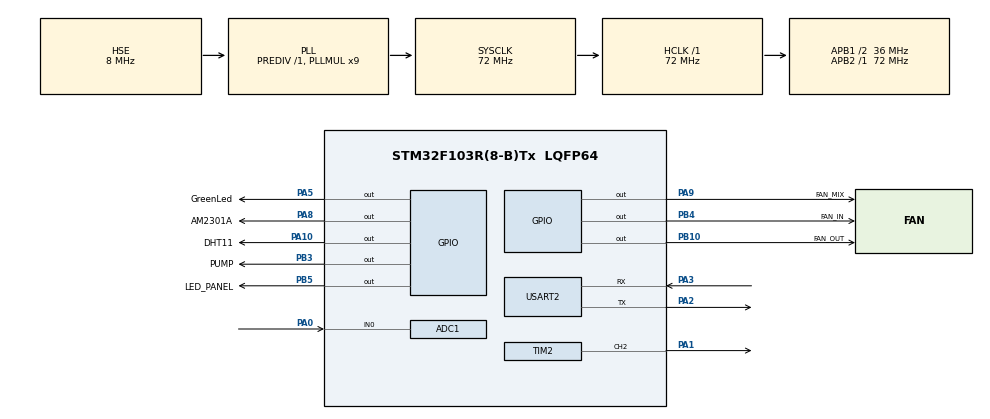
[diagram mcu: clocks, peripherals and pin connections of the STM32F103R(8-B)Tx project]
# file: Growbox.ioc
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ADC1.Channel-3\#ChannelRegularConversion=ADC_CHANNEL_0
ADC1.NbrOfConversionFlag=1
ADC1.Rank-3\#ChannelRegularConversion=1
ADC1.SamplingTime-3\#ChannelRegularConversion=ADC_SAMPLETIME_1CYCLE_5
ADC1.master=1
FREERTOS.Tasks01=tempControlTask,24,128,Start_tempControlTask,Default,NULL,Dynamic,NULL,NULL;humidityControl,8,128,Start_humidityControlTask,Default,NULL,Dynamic,NULL,NULL;mainTask,32,128,Start_mainTask,Default,NULL,Dynamic,NULL,NULL
Mcu.Family=STM32F1
Mcu.Name=STM32F103R(8-B)Tx
Mcu.Package=LQFP64
NVIC.PriorityGroup=NVIC_PRIORITYGROUP_4
NVIC.TIM4_IRQn=true\:0\:0\:false\:false\:true\:false\:false\:true
NVIC.TimeBase=TIM4_IRQn
NVIC.TimeBaseIP=TIM4
PA0-WKUP.Signal=ADCx_IN0
PA1.Signal=S_TIM2_CH2
PA10.GPIO_Label=DHT11
PA10.Signal=GPIO_Output
PA2.Mode=Asynchronous
PA2.Signal=USART2_TX
PA3.Mode=Asynchronous
PA3.Signal=USART2_RX
PA5.GPIO_Label=GreenLed
PA5.Signal=GPIO_Output
PA8.GPIO_Label=AM2301A
PA8.Signal=GPIO_Output
PA9.GPIO_Label=FAN_MIX
PA9.Signal=GPIO_Output
PB10.GPIO_Label=FAN_OUT
PB10.Signal=GPIO_Output
PB3.GPIO_Label=PUMP
PB3.Signal=GPIO_Output
PB4.GPIO_Label=FAN_IN
PB4.Signal=GPIO_Output
PB5.GPIO_Label=LED_PANEL
PB5.Signal=GPIO_Output
PD0-OSC_IN.Mode=HSE-External-Oscillator
PD0-OSC_IN.Signal=RCC_OSC_IN
PD1-OSC_OUT.Mode=HSE-External-Oscillator
PD1-OSC_OUT.Signal=RCC_OSC_OUT
ProjectManager.HeapSize=0x200
ProjectManager.StackSize=0x400
ProjectManager.TargetToolchain=STM32CubeIDE
RCC.ADCPresc=RCC_ADCPCLK2_DIV6
RCC.AHBFreq_Value=72000000
RCC.APB1CLKDivider=RCC_HCLK_DIV2
RCC.APB1Freq_Value=36000000
RCC.APB1TimFreq_Value=72000000
RCC.APB2Freq_Value=72000000
RCC.APB2TimFreq_Value=72000000
RCC.HCLKFreq_Value=72000000
RCC.PLLMUL=RCC_PLL_MUL9
RCC.PLLSourceVirtual=RCC_PLLSOURCE_HSE
RCC.SYSCLKFreq_VALUE=72000000
RCC.SYSCLKSource=RCC_SYSCLKSOURCE_PLLCLK
RCC.USBFreq_Value=72000000
RTC.Format=RTC_FORMAT_BIN
RTC.Hours=22
RTC.Minutes=11
SH.ADCx_IN0.0=ADC1_IN0,IN0
SH.S_TIM2_CH2.0=TIM2_CH2,PWM Generation2 CH2
TIM1.Period=0xffff-1
TIM1.Prescaler=72-1
TIM2.AutoReloadPreload=TIM_AUTORELOAD_PRELOAD_ENABLE
TIM2.Channel-PWM\ Generation2\ CH2=TIM_CHANNEL_2
TIM2.Period=10000-1
TIM2.Prescaler=7200-1
USART2.VirtualMode=VM_ASYNC
VP_FREERTOS_VS_CMSIS_V2.Mode=CMSIS_V2
VP_RTC_VS_RTC_Activate.Mode=RTC_Enabled
VP_RTC_VS_RTC_Calendar.Mode=RTC_Calendar
VP_SYS_VS_ND.Mode=No_Debug
VP_SYS_VS_tim4.Mode=TIM4
VP_TIM1_VS_ClockSourceINT.Mode=Internal
board=custom

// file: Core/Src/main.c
/* USER CODE BEGIN Header */
/**
  ******************************************************************************
  * @file           : main.c
  * @brief          : Main program body
  ******************************************************************************
  * @attention
  *
  * <h2><center>&copy; Copyright (c) 2020 STMicroelectronics.
  * All rights reserved.</center></h2>
  *
  * This software component is licensed by ST under BSD 3-Clause license,
  * the "License"; You may not use this file except in compliance with the
  * License. You may obtain a copy of the License at:
  *                        opensource.org/licenses/BSD-3-Clause
  *
  ******************************************************************************
  */
/* USER CODE END Header */

#include "main.h"
#include "cmsis_os.h"
#include "adc.h"
#include "rtc.h"
#include "tim.h"
#include "usart.h"
#include "gpio.h"

/* USER CODE BEGIN Includes */
#include "stdio.h"
#include <stdarg.h>
#include "dht.h"
#include <stdbool.h>
/* USER CODE END Includes */

void SystemClock_Config(void);
void MX_FREERTOS_Init(void);

/* USER CODE BEGIN 0 */
void uart_print( const char * format, ... )
{
  char buffer[256];
  va_list args;
  va_start (args, format);
  vsnprintf (buffer,256,format, args);
  perror (buffer);
  va_end (args);
}
/* USER CODE END 0 */

int main(void)
{

  /* MCU Configuration--------------------------------------------------------*/

  /* Reset of all peripherals, Initializes the Flash interface and the Systick. */
  HAL_Init();

  /* Configure the system clock */
  SystemClock_Config();

  /* Initialize all configured peripherals */
  MX_GPIO_Init();
  MX_USART2_UART_Init();
  MX_TIM1_Init();
  MX_RTC_Init();
  MX_ADC1_Init();
  MX_TIM2_Init();

  /* Init scheduler */
  osKernelInitialize();  /* Call init function for freertos objects (in freertos.c) */
  MX_FREERTOS_Init();
  /* Start scheduler */
  osKernelStart();

  /* We should never get here as control is now taken by the scheduler */
  /* Infinite loop */
  while (1)
  {

  }
}

void SystemClock_Config(void)
{
  RCC_OscInitTypeDef RCC_OscInitStruct = {0};
  RCC_ClkInitTypeDef RCC_ClkInitStruct = {0};
  RCC_PeriphCLKInitTypeDef PeriphClkInit = {0};

  /** Initializes the CPU, AHB and APB busses clocks
  */
  RCC_OscInitStruct.OscillatorType = RCC_OSCILLATORTYPE_LSI|RCC_OSCILLATORTYPE_HSE;
  RCC_OscInitStruct.HSEState = RCC_HSE_ON;
  RCC_OscInitStruct.HSEPredivValue = RCC_HSE_PREDIV_DIV1;
  RCC_OscInitStruct.HSIState = RCC_HSI_ON;
  RCC_OscInitStruct.LSIState = RCC_LSI_ON;
  RCC_OscInitStruct.PLL.PLLState = RCC_PLL_ON;
  RCC_OscInitStruct.PLL.PLLSource = RCC_PLLSOURCE_HSE;
  RCC_OscInitStruct.PLL.PLLMUL = RCC_PLL_MUL9;
  if (HAL_RCC_OscConfig(&RCC_OscInitStruct) != HAL_OK)
  {
    Error_Handler();
  }
  /** Initializes the CPU, AHB and APB busses clocks
  */
  RCC_ClkInitStruct.ClockType = RCC_CLOCKTYPE_HCLK|RCC_CLOCKTYPE_SYSCLK
                              |RCC_CLOCKTYPE_PCLK1|RCC_CLOCKTYPE_PCLK2;
  RCC_ClkInitStruct.SYSCLKSource = RCC_SYSCLKSOURCE_PLLCLK;
  RCC_ClkInitStruct.AHBCLKDivider = RCC_SYSCLK_DIV1;
  RCC_ClkInitStruct.APB1CLKDivider = RCC_HCLK_DIV2;
  RCC_ClkInitStruct.APB2CLKDivider = RCC_HCLK_DIV1;

  if (HAL_RCC_ClockConfig(&RCC_ClkInitStruct, FLASH_LATENCY_2) != HAL_OK)
  {
    Error_Handler();
  }
  PeriphClkInit.PeriphClockSelection = RCC_PERIPHCLK_RTC|RCC_PERIPHCLK_ADC;
  PeriphClkInit.RTCClockSelection = RCC_RTCCLKSOURCE_LSI;
  PeriphClkInit.AdcClockSelection = RCC_ADCPCLK2_DIV6;
  if (HAL_RCCEx_PeriphCLKConfig(&PeriphClkInit) != HAL_OK)
  {
    Error_Handler();
  }
}

 /**
  * @brief  Period elapsed callback in non blocking mode
  * @note   This function is called  when TIM4 interrupt took place, inside
  * HAL_TIM_IRQHandler(). It makes a direct call to HAL_IncTick() to increment
  * a global variable "uwTick" used as application time base.
  * @param  htim : TIM handle
  * @retval None
  */
void HAL_TIM_PeriodElapsedCallback(TIM_HandleTypeDef *htim)
{
  if (htim->Instance == TIM4) {
    HAL_IncTick();
  }
}

void Error_Handler(void)
{
}

/************************ (C) COPYRIGHT STMicroelectronics *****END OF FILE****/

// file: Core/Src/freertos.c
/* USER CODE BEGIN Header */
/**
  ******************************************************************************
  * File Name          : freertos.c
  * Description        : Code for freertos applications
  ******************************************************************************
  * @attention
  *
  * <h2><center>&copy; Copyright (c) 2020 STMicroelectronics.
  * All rights reserved.</center></h2>
  *
  * This software component is licensed by ST under Ultimate Liberty license
  * SLA0044, the "License"; You may not use this file except in compliance with
  * the License. You may obtain a copy of the License at:
  *                             www.st.com/SLA0044
  *
  ******************************************************************************
  */
/* USER CODE END Header */

#include "FreeRTOS.h"
#include "task.h"
#include "main.h"
#include "cmsis_os.h"

/* USER CODE BEGIN Includes */
#include "adc.h"
#include "rtc.h"
#include "tim.h"
#include "usart.h"
#include "gpio.h"
#include "stdio.h"
#include "dht.h"
#include <stdbool.h>
/* USER CODE END Includes */

/* USER CODE BEGIN Variables */
	 SENSOR am2301a_in;
	 SENSOR am2301a_out;
	 RTC_TimeTypeDef sTime;
/* USER CODE END Variables */
/* Definitions for tempControlTask */
osThreadId_t tempControlTaskHandle;
const osThreadAttr_t tempControlTask_attributes = {
  .name = "tempControlTask",
  .priority = (osPriority_t) osPriorityNormal,
  .stack_size = 128 * 4
};
/* Definitions for humidityControl */
osThreadId_t humidityControlHandle;
const osThreadAttr_t humidityControl_attributes = {
  .name = "humidityControl",
  .priority = (osPriority_t) osPriorityLow,
  .stack_size = 128 * 4
};
/* Definitions for mainTask */
osThreadId_t mainTaskHandle;
const osThreadAttr_t mainTask_attributes = {
  .name = "mainTask",
  .priority = (osPriority_t) osPriorityAboveNormal,
  .stack_size = 128 * 4
};

/* USER CODE BEGIN FunctionPrototypes */
void turnOnLedPanel() {
	HAL_GPIO_WritePin(LED_PANEL_GPIO_Port, LED_PANEL_Pin, RESET);
}
void turnOffLedPanel() {
	HAL_GPIO_WritePin(LED_PANEL_GPIO_Port, LED_PANEL_Pin, SET);
}
void turnOnFans () {
	HAL_GPIO_WritePin(FAN_IN_GPIO_Port, FAN_IN_Pin, RESET);
	HAL_GPIO_WritePin(FAN_OUT_GPIO_Port, FAN_OUT_Pin, RESET);
}
void turnOffFans () {
	HAL_GPIO_WritePin(FAN_IN_GPIO_Port, FAN_IN_Pin, SET);
	HAL_GPIO_WritePin(FAN_OUT_GPIO_Port, FAN_OUT_Pin, SET);
}
void turnOnFanMIX() {
	HAL_GPIO_WritePin(FAN_MIX_GPIO_Port, FAN_MIX_Pin, RESET);
}
void turnOffFanMIX() {
	HAL_GPIO_WritePin(FAN_MIX_GPIO_Port, FAN_MIX_Pin, SET);
}
void turnOnPump () {
	HAL_GPIO_WritePin(PUMP_GPIO_Port,PUMP_Pin,SET);
}
void turnOffPump () {
	HAL_GPIO_WritePin(PUMP_GPIO_Port,PUMP_Pin,RESET);
}
bool updateTemp () {
	bool correctIn,correctOut;
	correctIn=AM2301A_getData(&am2301a_in,GPIOA,AM2301A_Pin);
	correctOut=AM2301A_getData(&am2301a_out,GPIOA,DHT11_Pin);
	/*if(correctIn) {
		printf("Inside sensor: Temperature =%.2f Humidity=%.2f  \n",am2301a_in.temperature,am2301a_in.humidity);
	}
	if(correctOut) {
		printf("Outside sensor: Temperature =%.2f Humidity=%.2f  \n",am2301a_out.temperature,am2301a_out.humidity);
	}*/
	if(correctIn && correctOut)
		return 1;

	return 0;
}
void shutDownDevice() {
//ToDo: standby mode;
}
/* USER CODE END FunctionPrototypes */

void Start_tempControlTask(void *argument);
void Start_humidityControlTask(void *argument);
void Start_mainTask(void *argument);

void MX_FREERTOS_Init(void); /* (MISRA C 2004 rule 8.1) */

void MX_FREERTOS_Init(void) {
  /* USER CODE BEGIN Init */
	HAL_GPIO_WritePin(FAN_IN_GPIO_Port, FAN_IN_Pin, SET);
	  HAL_GPIO_WritePin(FAN_OUT_GPIO_Port, FAN_OUT_Pin, SET);
	  HAL_GPIO_WritePin(LED_PANEL_GPIO_Port, LED_PANEL_Pin, SET);
	  HAL_GPIO_WritePin(FAN_MIX_GPIO_Port, FAN_MIX_Pin, SET);
	  HAL_GPIO_WritePin(PUMP_GPIO_Port, PUMP_Pin, RESET);
	  HAL_TIM_Base_Start(&htim1);
	  HAL_TIM_PWM_Start(&htim2, TIM_CHANNEL_2);
	  printf("################################################## \n"
			 "######### Growbox IOT - Booting device...######### \n"
	         "################################################## \n");
  /* USER CODE END Init */

  /* Create the thread(s) */
  /* creation of tempControlTask */
  tempControlTaskHandle = osThreadNew(Start_tempControlTask, NULL, &tempControlTask_attributes);

  /* creation of humidityControl */
  humidityControlHandle = osThreadNew(Start_humidityControlTask, NULL, &humidityControl_attributes);

  /* creation of mainTask */
  mainTaskHandle = osThreadNew(Start_mainTask, NULL, &mainTask_attributes);

}

void Start_tempControlTask(void *argument)
{
  /* USER CODE BEGIN Start_tempControlTask */
	bool correct;
	bool printMessage;
    uint8_t errorCounter=0;
    float tempIn, tempOut, humIn, humOut;
  /* Infinite loop */
  for(;;)
  {
	  if (sTime.Hours % 2==0)
	 	  turnOnFanMIX();
	  else
		  turnOffFanMIX();

	  if (sTime.Minutes % 20 == 0) {
		  printf("Actual time: %d:%d:%d ",sTime.Hours,sTime.Minutes,sTime.Seconds);
		  printf("Inside sensor: Temperature =%.2f Humidity=%.2f  \n",tempIn,humIn);
		  printf("Actual time: %d:%d:%d ",sTime.Hours,sTime.Minutes,sTime.Seconds);
		  printf("Outside sensor: Temperature =%.2f Humidity=%.2f  \n",tempOut,humOut);
	  }

	      correct = updateTemp();
	      if (correct) {
			  tempIn = am2301a_in.temperature;
			  humIn = am2301a_in.humidity;
			  tempOut = am2301a_out.temperature;
			  humOut = am2301a_out.humidity;
			  errorCounter = 0;

			  if (tempIn-tempOut >= 1 || humIn-humOut >= 5) {
				  turnOnFans();
				  if (printMessage) {
					  printf("Actual time: %d:%d:%d ",sTime.Hours,sTime.Minutes,sTime.Seconds);
					  printf("Inside sensor: Temperature =%.2f Humidity=%.2f  \n",tempIn,humIn);
					  printf("Actual time: %d:%d:%d ",sTime.Hours,sTime.Minutes,sTime.Seconds);
					  printf("Outside sensor: Temperature =%.2f Humidity=%.2f  \n",tempOut,humOut);
					  printf("Turning on the fans \n");
				  }
				  printMessage = 0;
			  }
			  else {
				  turnOffFans();
				  if (!printMessage) {
					  printf("Actual time: %d:%d:%d ",sTime.Hours,sTime.Minutes,sTime.Seconds);
					  printf("Inside sensor: Temperature =%.2f Humidity=%.2f  \n",tempIn,humIn);
					  printf("Actual time: %d:%d:%d ",sTime.Hours,sTime.Minutes,sTime.Seconds);
					  printf("Outside sensor: Temperature =%.2f Humidity=%.2f  \n",tempOut,humOut);
					  printf("Turning off the fans \n");
				  }
				  printMessage = 1;
			  }
			  vTaskDelay( (1000 * 60) / portTICK_RATE_MS ); //1min delay
	      } else {
	    	  if (errorCounter > 30) {
	    		  printf("Actual time: %d:%d:%d ",sTime.Hours,sTime.Minutes,sTime.Seconds);
	    		  printf ("BROKEN SENSORS! \n");
	    		  shutDownDevice();
	    	  }
	    	  errorCounter++;
	    	  vTaskDelay( 1000 / portTICK_RATE_MS ); //1sec delay
	      }

    osDelay(1);
  }
  /* USER CODE END Start_tempControlTask */
}

void Start_humidityControlTask(void *argument)
{
  /* USER CODE BEGIN Start_humidityControlTask */
	 bool printMessage;
	 bool sensorError = 0;
	 uint8_t counter = 0;
	 uint16_t MH_sensor_val;
	 float MH_sensor_voltage;
  /* Infinite loop */
  for(;;)
  {
	  HAL_ADC_Start(&hadc1);
	  if (HAL_ADC_PollForConversion(&hadc1,10) == HAL_OK ) {
			  MH_sensor_val=HAL_ADC_GetValue(&hadc1);
			  MH_sensor_voltage=(MH_sensor_val/4096.00f)*3.3;
			  if ( MH_sensor_voltage > 2.5 && !sensorError) {
				turnOnPump();
				counter++;
				if (counter > 10) {
					printf("Actual time: %d:%d:%d ",sTime.Hours,sTime.Minutes,sTime.Seconds);
					printf("Humidity sensor ERROR! \n");
					sensorError = 1;
				}
				if(printMessage) {
					printf("Actual time: %d:%d:%d ",sTime.Hours,sTime.Minutes,sTime.Seconds);
					printf("MH_sensor = %d Voltage=%.2f V\n", MH_sensor_val, MH_sensor_voltage);
					printf("Turning ON the pump \n");
				}
				printMessage = 0;
				vTaskDelay( 1000 / portTICK_RATE_MS ); // 1s delay
			  } else {
				turnOffPump();
				if(!printMessage) {
					printf("Actual time: %d:%d:%d ",sTime.Hours,sTime.Minutes,sTime.Seconds);
					printf("MH_sensor = %d Voltage=%.2f V\n", MH_sensor_val, MH_sensor_voltage);
					printf("Turning OFF the pump \n");
				}
				printMessage = 1;
				vTaskDelay( (1000 * 60 * 60) / portTICK_RATE_MS ); //1hour delay
			  }
	  } else {
		  turnOffPump();
		  vTaskDelay( 1000 / portTICK_RATE_MS );
	  }

    osDelay(1);
  }
  /* USER CODE END Start_humidityControlTask */
}

void Start_mainTask(void *argument)
{
  /* USER CODE BEGIN Start_mainTask */
  bool printMessage;
  bool ledPanelSet = 0;
  uint8_t startLedPanelTime = 8;
  uint8_t duringGrowTime = 14;
  //ToDo: __HAL_TIM_SET_COMPARE(&htim2,TIM_CHANNEL_2,1000); fan mix power control
  /* Infinite loop */
  for(;;)
  {
	  HAL_RTC_GetTime(&hrtc, &sTime, RTC_FORMAT_BIN);

	  if ((sTime.Hours >= startLedPanelTime) && (sTime.Hours < duringGrowTime+startLedPanelTime)) {
		  if (!ledPanelSet) {
			  turnOnLedPanel();
		  }
		  ledPanelSet = 1;

		  if (printMessage) {
			  printf("Actual time: %d:%d:%d ",sTime.Hours,sTime.Minutes,sTime.Seconds);
			  printf("Turning ON the LED Panel \n");
		  }
		  printMessage = 0;

	  } else {
		  if (ledPanelSet) {
			  turnOffLedPanel();
			  ledPanelSet = 0;
		  }
		  if (!printMessage) {
			  printf("Actual time: %d:%d:%d ",sTime.Hours,sTime.Minutes,sTime.Seconds);
			  printf("Turning OFF the LED Panel \n");
		  }
		  printMessage = 1;

	  }
	  vTaskDelay( 1000 / portTICK_RATE_MS );
	  osDelay(1);

  }
  /* USER CODE END Start_mainTask */
}

/************************ (C) COPYRIGHT STMicroelectronics *****END OF FILE****/
